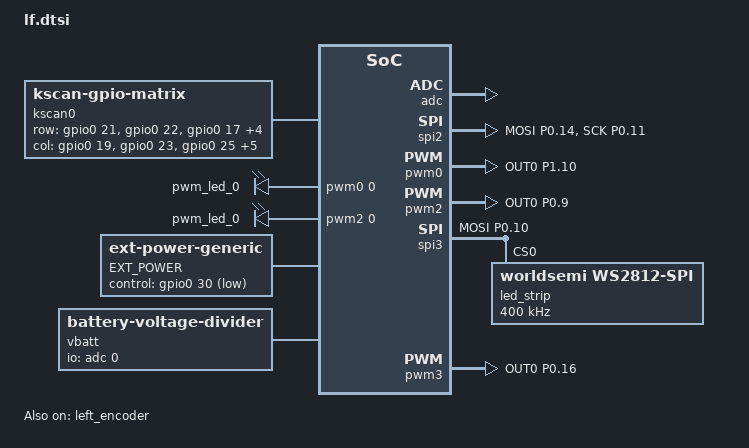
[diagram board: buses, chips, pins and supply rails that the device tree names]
/*
 * 左半（左手）的硬件：kscan 矩阵、EXT_POWER、编码器、屏幕 SPI、模块插座引脚。
 *
 * Copyright (c) 2025 ZitaoTech
 * SPDX-License-Identifier: MIT
 *
 * 被 lf_slaver.dts / lf_master.dts 包含 —— 两侧角色（外设/中央）的硬件完全相同，
 * 差别只在角色：外设侧不用加东西，中央侧由 lf_master.dts 补「对侧模块走 split
 * 入站」的节点。67 格变换表、编码器、传感器、USB 串口、flash 分区在
 * sofle_dongle.dtsi 里（五块板共用）。
 */

#include "sofle_dongle.dtsi"


/ {
    chosen {
        zmk,backlight = &backlight;
        zmk,battery = &vbatt;
        zmk,underglow = &led_strip;
        zmk,keyboard_backlight = &keyboard_backlight;
    };
    kscan0: kscan {
        compatible = "zmk,kscan-gpio-matrix";
        diode-direction = "col2row";
        wakeup-source;
        row-gpios
            = <&gpio0 21 (GPIO_ACTIVE_HIGH | GPIO_PULL_DOWN)>
            , <&gpio0 22  (GPIO_ACTIVE_HIGH | GPIO_PULL_DOWN)>
            , <&gpio0 17 (GPIO_ACTIVE_HIGH | GPIO_PULL_DOWN)>
            , <&gpio0 15  (GPIO_ACTIVE_HIGH | GPIO_PULL_DOWN)>
            , <&gpio0 13  (GPIO_ACTIVE_HIGH | GPIO_PULL_DOWN)>
            , <&gpio0 4  (GPIO_ACTIVE_HIGH | GPIO_PULL_DOWN)>
            , <&gpio0 26  (GPIO_ACTIVE_HIGH | GPIO_PULL_DOWN)>
            ;
        col-gpios
            = <&gpio0 19  GPIO_ACTIVE_HIGH>
            , <&gpio0 23  GPIO_ACTIVE_HIGH>
            , <&gpio0 25  GPIO_ACTIVE_HIGH>
            , <&gpio1 0 GPIO_ACTIVE_HIGH>
            , <&gpio0 24 GPIO_ACTIVE_HIGH>
            , <&gpio0 20 GPIO_ACTIVE_HIGH>
            , <&gpio0 8 GPIO_ACTIVE_HIGH>
            , <&gpio0 6 GPIO_ACTIVE_HIGH>
            ;
    };


    keyboard_backlight: pwmledfo{
        compatible = "pwm-leds";
        pwm_led_0 {
            pwms = <&pwm0 0 PWM_USEC(2000) PWM_POLARITY_NORMAL>;
        };
    };

    backlight: pwmleds {
        compatible = "pwm-leds";
        pwm_led_0 {
            pwms = <&pwm2 0 PWM_MSEC(10) PWM_POLARITY_NORMAL>;
        };
    };
    EXT_POWER {
        compatible = "zmk,ext-power-generic";
        control-gpios = <&gpio0 30 GPIO_ACTIVE_LOW>;
    };
    vbatt: vbatt {
        compatible = "zmk,battery-voltage-divider";
        io-channels = <&adc 0>;
        output-ohms = <2000000>;
        full-ohms = <2820000>;  // 2000000 + 820000
    };
};

&default_transform {
    col-offset = <1>;
};


&adc {
    status = "okay";
};

&gpiote {
    status = "okay";
};

&gpio0 {
    status = "okay";
};

&gpio1 {
    status = "okay";
};

&spi2 {
    status = "okay";
};

&pwm0 {
    status = "okay";
    pinctrl-0 = <&pwm0_default>;
    pinctrl-1 = <&pwm0_sleep>;
    pinctrl-names = "default", "sleep";
};

&pwm2 {
    status = "okay";
    pinctrl-0 = <&pwm2_default>;
    pinctrl-1 = <&pwm2_sleep>;
    pinctrl-names = "default", "sleep";
};

&left_encoder {
    status = "okay";
};



lpm_view_spi: &spi2 {
    compatible = "nordic,nrf-spim";
    pinctrl-0 = <&spi2_default>;
    pinctrl-1 = <&spi2_sleep>;
    pinctrl-names = "default", "sleep";
    cs-gpios = <&gpio1 8 (GPIO_ACTIVE_HIGH | GPIO_PULL_DOWN) >;
};

&spi3 {
    compatible = "nordic,nrf-spim";
    status = "okay";

    pinctrl-0 = <&spi3_default>;
    pinctrl-1 = <&spi3_sleep>;
    pinctrl-names = "default", "sleep";

    led_strip: ws2812@0 {
        compatible = "worldsemi,ws2812-spi";
        /* SPI */
        reg = <0>; /* ignored, but necessary for SPI bindings */
        spi-max-frequency = <400000>;
        /* WS2812 */
        chain-length = <1>; /* number of LEDs */
        spi-one-frame = <0x70>;
        spi-zero-frame = <0x40>;
        color-mapping = <LED_COLOR_ID_GREEN
                         LED_COLOR_ID_RED
                         LED_COLOR_ID_BLUE>;
    };
};

&pinctrl {
    pwm0_default:pwm0_default{
        group1{
            psels = <NRF_PSEL(PWM_OUT0, 1, 10)>; // keyboard backlight
        };
    };

    pwm0_sleep: pwm0_sleep {
        group1 {
            psels = <NRF_PSEL(PWM_OUT0, 1, 10)>;
            bias-pull-down;
        };
    };

   pwm2_default: pwm2_default {
        group1 {
            psels = <NRF_PSEL(PWM_OUT0, 0, 9)>; // backlight unreal
        };
    };

    pwm2_sleep: pwm2_sleep {
        group1 {
            psels = <NRF_PSEL(PWM_OUT0, 0, 9)>;
            bias-pull-down;
        };
    };    
    spi2_default: spi2_default {
        group1 {
            psels = <NRF_PSEL(SPIM_MOSI, 0, 14)>,
            <NRF_PSEL(SPIM_SCK, 0, 11)>;
        };
    };
    spi2_sleep: spi2_sleep {
        group1 {
            psels = <NRF_PSEL(SPIM_MOSI, 0, 14)>,
            <NRF_PSEL(SPIM_SCK, 0, 11)>;
            low-power-enable;
        };
    };
    spi3_default: spi3_default {
        group1 {
            psels = <NRF_PSEL(SPIM_MOSI, 0, 10)>;    // Setting for RGB light, unreal
        };
    };

    spi3_sleep: spi3_sleep {
        group1 {
            psels = <NRF_PSEL(SPIM_MOSI, 0, 10)>;
            low-power-enable;
        };
    };
};

/* =========================================================================
 * 模块插座（左座）的引脚：插座上的哪根线接到左板 MCU 的哪只脚。
 *
 * 属于板子、不属于模块（见 MODULAR_POINTER_ANALYSIS.md §4.1）：
 *   轨迹球 UP   P0.05  =  触摸板 MOTION
 *   轨迹球 LEFT P0.12  =  触摸板 I2C SCL
 *   轨迹球 DOWN P1.09  =  触摸板 I2C SDA
 *   轨迹球 RIGHT P0.27 =  （触摸板不用）
 *
 * shield 那边只负责把外设 enable 起来（&pwm1 / &pwm3 / &i2c0），引脚本身在
 * 这里单点定义，换模块不用动。引脚号（Kconfig 那半）在 Kconfig.defconfig 里，
 * 按「半」给默认值：同侧的 master/slaver 硬件相同，共享一份。
 * ========================================================================= */
&pinctrl {
    /* 模块主 LED：轨迹球和触摸板共用同一颗 */
    pwm1_default: pwm1_default {
        group1 {
            psels = <NRF_PSEL(PWM_OUT0, 0, 7)>;
        };
    };

    pwm1_sleep: pwm1_sleep {
        group1 {
            psels = <NRF_PSEL(PWM_OUT0, 0, 7)>;
            bias-pull-down;
        };
    };

    /* 触摸板自己加的那颗 LED —— 只有左板引出来了。enable 也一并留在这边
     * 而不是 shield 里（bbtrackpad.overlay 引用了 pwm3_default，放 shield
     * 会让右板在设备树阶段就炸，见那边的注释） */
    pwm3_default: pwm3_default {
        group1 {
            psels = <NRF_PSEL(PWM_OUT0, 0, 16)>;
        };
    };

    pwm3_sleep: pwm3_sleep {
        group1 {
            psels = <NRF_PSEL(PWM_OUT0, 0, 16)>;
            bias-pull-down;
        };
    };

    /* 模块插座上的 I2C，只有触摸板会用（轨迹球拿这两根当方向线） */
    i2c0_default: i2c0_default {
        group1 {
            psels = <NRF_PSEL(TWIM_SDA, 1, 9)>,
                    <NRF_PSEL(TWIM_SCL, 0, 12)>;
        };
    };

    i2c0_sleep: i2c0_sleep {
        group1 {
            psels = <NRF_PSEL(TWIM_SDA, 1, 9)>,
                    <NRF_PSEL(TWIM_SCL, 0, 12)>;
            low-power-enable;
        };
    };
};

/* 触摸板副 LED 的 enable：插触摸板才有消费者，插轨迹球时这里只是留一个
 * 没人用的 PWM 设备（开销可忽略）。 */
&pwm3 {
    status = "okay";
    pinctrl-0 = <&pwm3_default>;
    pinctrl-1 = <&pwm3_sleep>;
    pinctrl-names = "default", "sleep";
};
